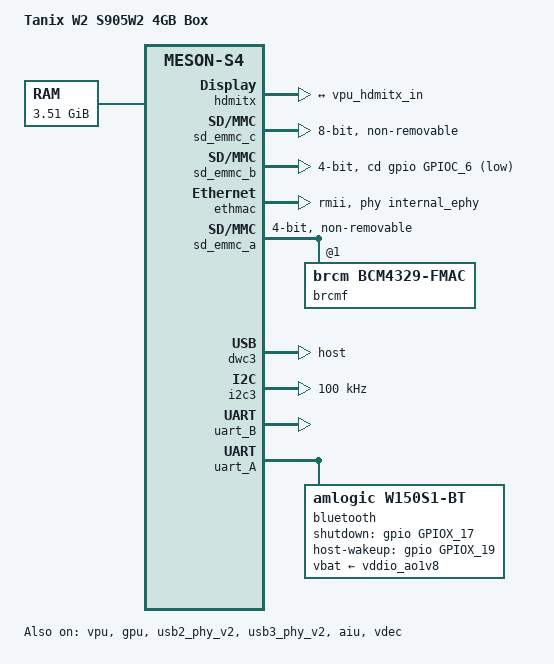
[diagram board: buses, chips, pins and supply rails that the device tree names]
// SPDX-License-Identifier: (GPL-2.0+ OR MIT)

/dts-v1/;

#include "meson-s4.dtsi"
#include <dt-bindings/input/input.h>
#include <dt-bindings/gpio/gpio.h>
#include <dt-bindings/interrupt-controller/irq.h>
#include <dt-bindings/interrupt-controller/arm-gic.h>

/ {
	model = "Tanix W2 S905W2 4GB Box";
	compatible = "tanix,w2", "amlogic,s4";

	aliases {
		serial0 = &uart_B;
		ethernet0 = &ethmac;
	};

	memory@00000000 {
		device_type = "memory";
		reg = <0x0 0x00000000 0x0 0xe0800000>;
	};
};

&{/} {
	reserved-memory {
		#address-cells = <2>;
		#size-cells = <2>;
		ranges;

		ramoops@07400000 {
			compatible = "ramoops";
			reg = <0x0 0x07400000 0x0 0x00100000>;
			record-size = <0x20000>;
			console-size = <0x40000>;
			ftrace-size = <0x80000>;
			pmsg-size = <0x20000>;
		};

		logo_reserved: linux,meson-fb {
			compatible = "shared-dma-pool";
			reusable;
			reg = <0x0 0x3f800000 0x0 0x00800000>;
		};

		codec_mm_cma: linux,codec_mm_cma {
			compatible = "shared-dma-pool";
			reusable;
			size = <0x0 0x0d000000>;
			alignment = <0x0 0x00400000>;
			linux,contiguous-region;
		};
	};
};

&hdmitx {
	status = "okay";
	pinctrl-names = "default";
	pinctrl-0 = <&hdmitx_ddc_pins>;
	
	ports {
		hdmitx_vpu_port: port {
			hdmitx_vpu_out: endpoint {
				remote-endpoint = <&vpu_hdmitx_in>;
			};
		};
	};
};

&vpu {
	status = "okay";
	memory-region = <&logo_reserved>;

	ports {
		#address-cells = <1>;
		#size-cells = <0>;

		port@0 {
			reg = <0>;
			vpu_hdmitx_in: endpoint {
				remote-endpoint = <&hdmitx_vpu_out>;
			};
		};
	};
};

&gpu {
	status = "okay";
	mali-supply = <&vddcpu0>;
};

&sd_emmc_c {
	status = "okay";
	pinctrl-names = "default", "clk-gate";
	pinctrl-0 = <&emmc_pins>, <&emmc_ds_pins>;
	pinctrl-1 = <&emmc_clk_gate_pins>;

	bus-width = <8>;
	cap-mmc-highspeed;
	mmc-ddr-1_8v;
	mmc-hs200-1_8v;
	max-frequency = <200000000>;
	non-removable;
	disable-wp;
	
	amlogic,tx-delay = <0xa>;
};

&sd_emmc_b {
	status = "okay";
	pinctrl-names = "default";
	pinctrl-0 = <&sdcard_pins>;
	bus-width = <4>;
	cap-sd-highspeed;
	max-frequency = <100000000>;
	disable-wp;
	cd-gpios = <&gpio GPIOC_6 GPIO_ACTIVE_LOW>;
};

&ethmac {
	status = "okay";
	phy-mode = "rmii";
	phy-handle = <&internal_ephy>;
};

&sd_emmc_a {
	status = "okay";
	pinctrl-names = "default";
	pinctrl-0 = <&sdio_pins>;
	bus-width = <4>;
	cap-sd-highspeed;
	non-removable;

	brcmf: wifi@1 {
		reg = <1>;
		compatible = "brcm,bcm4329-fmac"; 
	};
};

&usb2_phy_v2 {
	status = "okay";
};

&usb3_phy_v2 {
	status = "okay";
	phy-supply = <&usb2_phy_v2>;
};

&dwc3 {
	status = "okay";
	dr_mode = "host";
};

&i2c3 {
	status = "okay";
	pinctrl-names = "default";
	pinctrl-0 = <&i2c3_pins2>;
	clock-frequency = <100000>;
};

&uart_B {
	status = "okay";
};


&{/} {
	sound {
		compatible = "simple-audio-card";
		simple-audio-card,name = "Tanix-W2-HDMI";

		simple-audio-card,cpu {
			sound-dai = <&aiu AIU_CPU_I2S>;
		};

		simple-audio-card,codec {
			sound-dai = <&hdmitx>;
		};
	};
};

&aiu {
	status = "okay";
};

&vdec {
	status = "okay";
	memory-region = <&codec_mm_cma>;
};

&uart_A {
	status = "okay";
	uart-has-rtscts;

	bluetooth {
		compatible = "amlogic,w150s1-bt";
		shutdown-gpios = <&gpio GPIOX_17 GPIO_ACTIVE_HIGH>;
		host-wakeup-gpios = <&gpio GPIOX_19 GPIO_ACTIVE_HIGH>;
		vbat-supply = <&vddio_ao1v8>;
	};
};

